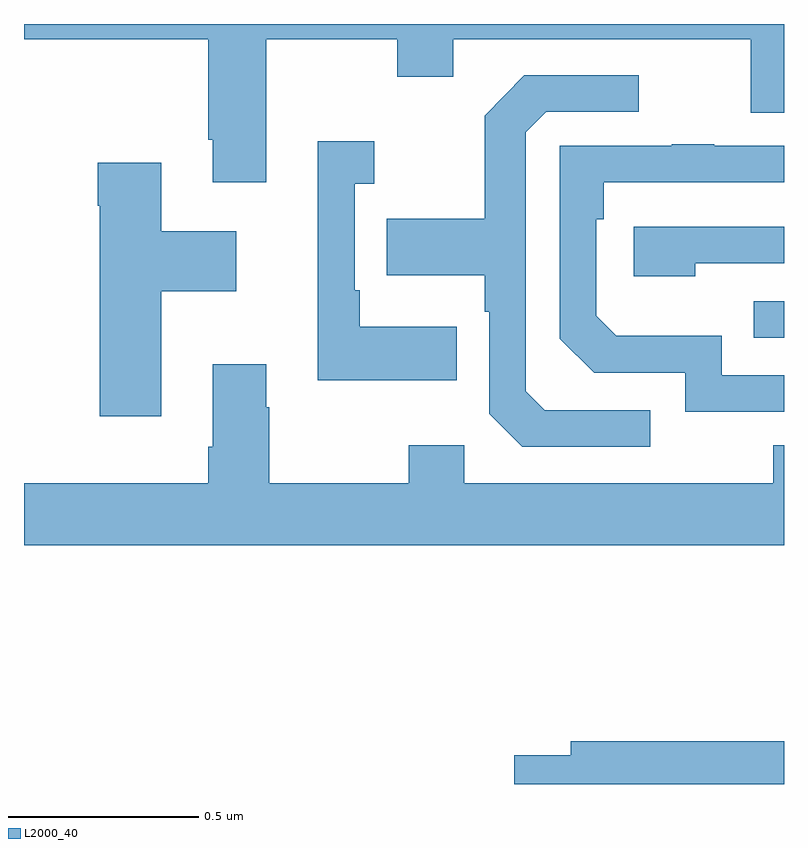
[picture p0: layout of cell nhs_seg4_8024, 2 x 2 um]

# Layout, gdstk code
import gdstk
lib = gdstk.Library(unit=1e-6, precision=1e-09)
def R(c, l, rs):  # rectangles x0, y0, x1, y1
    for r in rs: c.add(gdstk.rectangle(r[:2], r[2:], *l))
def P(c, l, *ps):  # polygons
    for p in ps: c.add(gdstk.Polygon(p, *l))
L2000_40 = (2000, 40)

nhs_seg4_8024 = lib.new_cell('nhs_seg4_8024')
R(nhs_seg4_8024, L2000_40, [(211.921,756.075,212,756.171)])
P(nhs_seg4_8024, L2000_40, [(210.637,756.86),(210.982,756.86),(210.982,756.761),(211.129,756.761),(211.129,756.86),(211.913,756.86),(211.913,756.666),(212,756.666),(212,756.9),(210,756.9),(210,756.86),(210.485,756.86),(210.485,756.595),(210.497,756.595),(210.497,756.483),(210.637,756.483)],
  [(211.648,755.883),(211.371,755.883),(211.32,755.934),(211.32,756.615),(211.374,756.669),(211.618,756.669),(211.618,756.765),(211.317,756.765),(211.212,756.659),(211.212,756.387),(210.955,756.387),(210.955,756.239),(211.212,756.239),(211.212,756.143),(211.224,756.143),(211.224,755.874),(211.311,755.787),(211.648,755.787)],
  [(211.139,756.103),(210.883,756.103),(210.883,756.199),(210.87,756.199),(210.87,756.479),(210.922,756.479),(210.922,756.592),(210.773,756.592),(210.773,755.963),(211.139,755.963)],
  [(212,755.976),(211.836,755.976),(211.836,756.079),(211.559,756.079),(211.506,756.132),(211.506,756.386),(211.526,756.386),(211.526,756.483),(212,756.483),(212,756.579),(211.817,756.579),(211.817,756.584),(211.705,756.584),(211.705,756.579),(211.41,756.579),(211.41,756.072),(211.5,755.982),(211.74,755.982),(211.74,755.88),(212,755.88)],
  [(210.361,756.197),(210.559,756.197),(210.559,756.355),(210.361,756.355),(210.361,756.535),(210.194,756.535),(210.194,756.422),(210.199,756.422),(210.199,755.868),(210.361,755.868)],
  [(211.766,756.27),(212,756.27),(212,756.366),(211.605,756.366),(211.605,756.236),(211.766,756.236)],
  [(212,755.791),(211.972,755.791),(211.972,755.692),(211.158,755.692),(211.158,755.791),(211.012,755.791),(211.012,755.692),(210.645,755.692),(210.645,755.891),(210.637,755.891),(210.637,756.004),(210.497,756.004),(210.497,755.788),(210.485,755.788),(210.485,755.692),(210,755.692),(210,755.528),(212,755.528)],
  [(212,755.012),(211.439,755.012),(211.439,754.976),(211.29,754.976),(211.29,754.9),(212,754.9)])

lib.write_gds('nhs_seg4_8024.gds')
